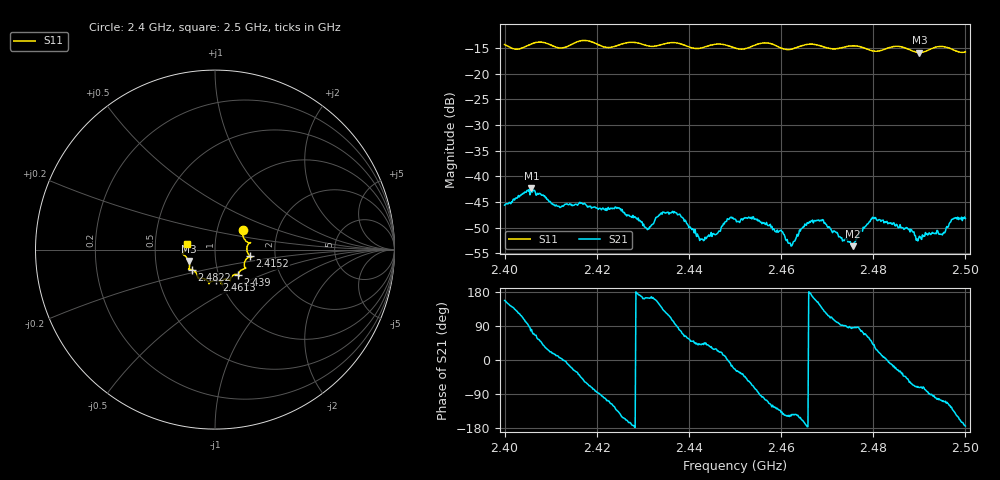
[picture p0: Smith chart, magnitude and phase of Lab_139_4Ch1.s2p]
# Hz S RI R 50
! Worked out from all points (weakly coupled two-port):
!   601 points, 2.4 GHz to 2.5 GHz, reference 50 ohm
!   highest |S21| = -42.26 dB at 2.4058 GHz (marker M1); lowest = -53.6 dB at 2.4757 GHz (marker M2)
!   lowest |S11| = -15.9 dB at 2.49 GHz (marker M3), VSWR 1.38, Z = 36.9 - j4.84 ohm
!   |S11| at or under -10 dB: start of sweep to end of sweep
!   S12 and S22 are empty: the file has one direction only
!   S11 on the Smith chart (normalised r, x): 2.4 GHz: 1.33, +0.31; 2.4152 GHz: 1.48, -0.11; 2.439 GHz: 1.24, -0.36; 2.4613 GHz: 0.96, -0.34; 2.4822 GHz: 0.76, -0.17; 2.5 GHz: 0.72, +0.05
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2.4e9  0.1553 0.1113  -0.00482 0.00206  0 0  0 0
2.405833e9  0.1909 0.0372  0.00125 0.00761  0 0  0 0
2.4115e9  0.1782 0.0137  0.00502 0.000974  0 0  0 0
2.415167e9  0.1949 -0.0361  0.00467 -0.00246  0 0  0 0
2.416667e9  0.2046 -0.042  0.00383 -0.00399  0 0  0 0
2.424667e9  0.1643 -0.0928  -0.00354 -0.00341  0 0  0 0
2.430833e9  0.1497 -0.112  -0.00299 0.000852  0 0  0 0
2.433333e9  0.1325 -0.1326  -0.00354 0.00201  0 0  0 0
2.439e9  0.1278 -0.139  0.0017 0.00322  0 0  0 0
2.442833e9  0.0914 -0.1525  0.00182 0.00165  0 0  0 0
2.45e9  0.0686 -0.1635  0.00351 -0.00156  0 0  0 0
2.454333e9  0.0346 -0.186  0.00096 -0.00373  0 0  0 0
2.461333e9  0.0076 -0.1708  -0.00203 -0.00134  0 0  0 0
2.462667e9  -0.0119 -0.1741  -0.00186 -0.00137  0 0  0 0
2.466667e9  -0.0337 -0.1902  -0.00362 0.000694  0 0  0 0
2.469e9  -0.0362 -0.1794  -0.00266 0.0027  0 0  0 0
2.475667e9  -0.0933 -0.161  0.000164 0.00208  0 0  0 0
2.479667e9  -0.1043 -0.1306  0.00259 0.00283  0 0  0 0
2.482167e9  -0.1281 -0.1118  0.00371 0.000491  0 0  0 0
2.483333e9  -0.1395 -0.1103  0.00348 -0.000379  0 0  0 0
2.49e9  -0.1467 -0.0638  0.000794 -0.00249  0 0  0 0
2.5e9  -0.1587 0.0338  -0.00387 -0.000384  0 0  0 0
